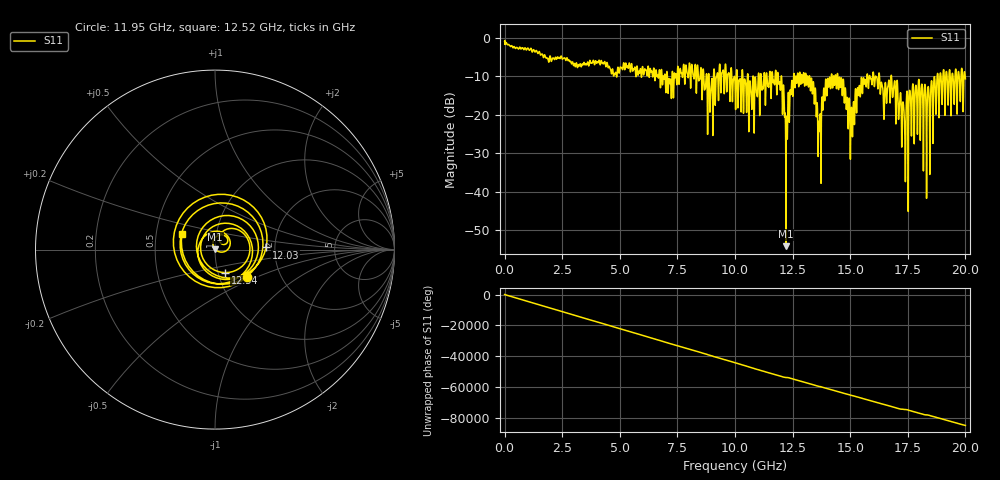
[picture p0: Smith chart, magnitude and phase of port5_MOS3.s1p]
! MS46122B
! 2250307/22442219
! 6/14/2025 10:23:54 AM
! C:\USERS\SPARKY\DOCUMENTS\VNA_DATA\JUNE14_2025\295K\PORT5_MOS3.S1P
! CHANNEL.1
! TR.MEASUREMENT
! RAW.DATA
# GHZ S RI R 50.0
! FREQ.GHZ  S11RE  S11IM
!; PortSelection: Port_1
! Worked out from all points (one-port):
!   10001 points, 1 MHz to 20 GHz, reference 50 ohm
!   lowest |S11| = -54.2 dB at 12.21 GHz (marker M1), VSWR 1.00, Z = 50.1 + j0.183 ohm
!   |S11| at or under -10 dB: 13.24 GHz to 14.18 GHz (939.5 MHz wide, 6.85 % of centre); 14.46 GHz to 15.73 GHz (1.263 GHz wide, 8.37 % of centre); 16.79 GHz to 18.78 GHz (1.983 GHz wide, 11.1 % of centre) (the widest 3 of 77)
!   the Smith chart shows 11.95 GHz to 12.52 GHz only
!   S11 on the Smith chart (normalised r, x): 11.95 GHz: 1.35, -0.44; 12.03 GHz: 1.79, +0.05; 12.34 GHz: 1.08, -0.28; 12.52 GHz: 0.68, +0.12
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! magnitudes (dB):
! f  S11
! 1 MHz  -1.0
! 2.501 GHz  -5.6
! 5.001 GHz  -8.1
! 7.501 GHz  -9.0
! 8.447 GHz  -10.7
! 8.969 GHz  -12.6
! 9.407 GHz  -11.6
! 10 GHz  -11.6
! 11.95 GHz  -12.6
! 12.03 GHz  -10.9
! 12.21 GHz  -54.2
! 12.34 GHz  -17.1
! 12.5 GHz  -14.1
! 12.52 GHz  -13.9
! 13.32 GHz  -10.5
! 13.66 GHz  -24.3
! 14.01 GHz  -11.1
! 14.53 GHz  -10.3
! 15 GHz  -27.4
! 15.92 GHz  -11.1
! 16.51 GHz  -12.2
! 16.86 GHz  -14.6
! 17.32 GHz  -18.0
! 17.5 GHz  -18.4
! 17.92 GHz  -24.9
! 18.39 GHz  -12.7
! 18.72 GHz  -19.8
! 20 GHz  -10.7
